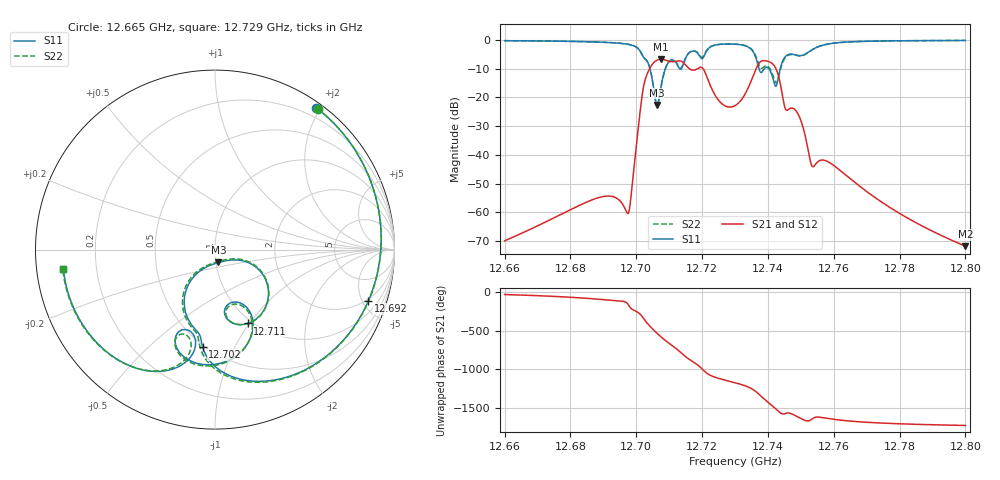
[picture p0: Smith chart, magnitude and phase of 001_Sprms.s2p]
! TOUCHSTONE file generated by CST MICROWAVE STUDIO
! Date and time: Wed Jul 31 10:37:38 2024
! Project name: WaveGuide_BPF-Ver4.1_U-shape_Ku_T3_C4_CWA_2.cst
! Parameters = {cavity_h=16; cavity_l0=10; cavity_l1=15.2292; cavity_l2=16.8302; cavity_l3=17.1369; cavity_l4=17.2518; cavity_l5=17.1681; cavity_l6=17.6195; cavity_r=2.5; cavity_screw_l=0.5; cavity_screw_r=1.5; cavity_w=8; iris_h00=0; iris_h01=8.8306; iris_h112=0; iris_h12=5.6052; iris_h211=3.6679; 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
! Header version: 2018
! Port assignment regex: !\s*Touchstone port\s*([0-9]+)\s*=\s*(CST MWS port|CST DS port)\s*([0-9]+|Zmin|Zmax)\s*\(\"(.*)\"\)(\s*mode\s*([0-9]+))?.*
! Touchstone port assignment:
! Touchstone port 1 = CST MWS port 1 ("")
! Touchstone port 2 = CST MWS port 2 ("")
# GHz S RI R 50
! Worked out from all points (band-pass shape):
!   5001 points, 12.66 GHz to 12.8 GHz, reference 50 ohm
!   highest |S21| = -6.69 dB at 12.708 GHz (marker M1); lowest = -71.8 dB at 12.8 GHz (marker M2)
!   |S21| within 3 dB of the highest: 12.70419 GHz to 12.71585 GHz (11.65 MHz wide, 0.0917 % of centre); 12.73651 GHz to 12.74232 GHz (5.807 MHz wide, 0.0456 % of centre) (the widest 2 of 3)
!   lowest |S11| = -22.6 dB at 12.706 GHz (marker M3), VSWR 1.16, Z = 51.4 - j7.43 ohm
!   |S11| at or under -10 dB: 12.70417 GHz to 12.70881 GHz (4.644 MHz wide, 0.0365 % of centre); 12.73729 GHz to 12.73886 GHz (1.571 MHz wide, 0.0123 % of centre); 12.74031 GHz to 12.74373 GHz (3.42 MHz wide, 0.0268 % of centre) (the widest 3 of 4)
!   |S22| runs from -23.2 to -0.1 dB; largest |S21 - S12| = 1e-09
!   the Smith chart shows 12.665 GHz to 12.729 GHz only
!   S11 on the Smith chart (normalised r, x): 12.665 GHz: 0.07, +1.94; 12.692 GHz: 1.84, -5.57; 12.702 GHz: 0.49, -0.75; 12.711 GHz: 0.95, -0.98; 12.729 GHz: 0.08, -0.06
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12.66  0.4839 0.8466  0.000265 -0.000179  0.000265 -0.000179  0.4916 0.842
12.66456  0.5651 0.7902  0.000319 -0.000268  0.000319 -0.000268  0.5727 0.7845
12.68335  0.9012 0.2701  0.00028 -0.00135  0.00028 -0.00135  0.9047 0.2571
12.69248  0.8549 -0.285  -0.000599 -0.00181  -0.000599 -0.00181  0.8491 -0.3007
12.69772  0.5149 -0.663  -0.001 -9.58e-05  -0.001 -9.58e-05  0.4998 -0.6738
12.70183  -0.0693 -0.5424  0.0877 0.072  0.0877 0.072  -0.084 -0.5407
12.70628  0.0191 -0.0718  -0.4435 -0.0418  -0.4435 -0.0418  0.0124 -0.0682
12.70668  0.0558 -0.063  -0.4479 0.0797  -0.4479 0.0797  0.0488 -0.0587
12.70752  0.1436 -0.0601  -0.3439 0.3103  -0.3439 0.3103  0.1378 -0.0536
12.7111  0.1826 -0.4115  0.394 0.1435  0.394 0.1435  0.1894 -0.4102
12.71653  0.0621 -0.6223  -0.2963 -0.0804  -0.2963 -0.0804  0.0586 -0.6286
12.72905  -0.8446 -0.1099  0.00627 -0.0684  0.00627 -0.0684  -0.8484 -0.1055
12.73  -0.847 0.00335  -0.0068 -0.0718  -0.0068 -0.0718  -0.8506 0.00539
12.73809  -0.15 0.2301  0.0526 0.4291  0.0526 0.4291  -0.155 0.2802
12.74114  0.0777 0.2401  0.354 -0.1792  0.354 -0.1792  0.0883 0.2637
12.74422  -0.2686 -0.2902  -0.0916 -0.0863  -0.0916 -0.0863  -0.2053 -0.3107
12.74632  -0.5229 0.2094  -0.0373 -0.0498  -0.0373 -0.0498  -0.5261 0.1602
12.7489  0.0804 0.5367  -0.0546 -0.00485  -0.0546 -0.00485  0.0554 0.5306
12.75335  0.4364 -0.5132  -0.00575 0.00292  -0.00575 0.00292  0.4278 -0.5167
12.762  -0.6573 -0.6257  -0.00411 0.00341  -0.00411 0.00341  -0.6667 -0.6166
12.77668  -0.965 -0.0526  -0.000176 0.00124  -0.000176 0.00124  -0.9658 -0.043
12.8  -0.9126 0.3682  8.34e-05 0.000244  8.34e-05 0.000244  -0.9098 0.3752
